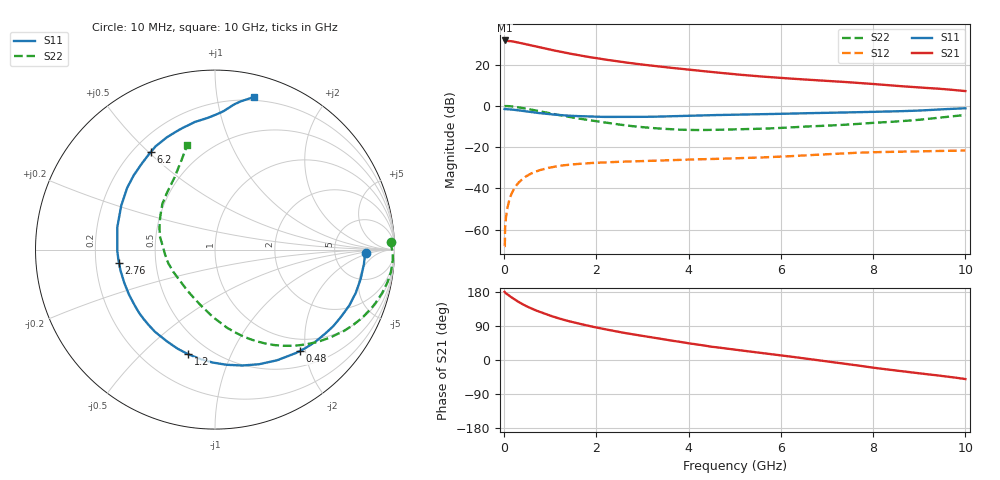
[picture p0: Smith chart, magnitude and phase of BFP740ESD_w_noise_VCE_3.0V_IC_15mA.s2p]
! Infineon Technologies  Discrete & RF Semiconductors
! BFP740ESD
! VCE =  3.0 V,  IC =  15 mA
! Common Emitter S-Parameters:  Jan 2016
# GHz  S  MA  R  50
!  f  S11  S21  S12  S22
! GHz  MAG  ANG  MAG  ANG  MAG  ANG  MAG  ANG
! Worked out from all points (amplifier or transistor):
!   233 points, 10 MHz to 10 GHz, reference 50 ohm
!   highest |S21| = 31.7 dB at 10 MHz (marker M1)
!   |S21| within 3 dB of that: start of sweep to 702.8 MHz
!   unconditionally stable (mu >= 1): 4.807 GHz to 7.919 GHz; 8.072 GHz to 8.797 GHz
!   at 200 MHz: K = 0.11, MSG = 36.0 dB, |S12| = -40.8 dB
!   at 1.74 GHz: K = 0.50, MSG = 26.0 dB, |S12| = -27.9 dB
!   at 10 GHz: K = 0.73, MSG = 14.4 dB, |S12| = -21.6 dB
!   lowest NFmin = 0.69 dB at 450 MHz
!   S11 on the Smith chart (normalised r, x): 10 MHz: 11, -2; 480 MHz: 0.77, -1.89; 1.2 GHz: 0.38, -0.70; 2.76 GHz: 0.30, -0.06; 6.2 GHz: 0.27, +0.51; 10 GHz: 0.17, +1.27
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0.01  0.8419 -1.3  38.52 179.8  0.0004 -91.8  0.9794 2.5
0.02  0.836 -2.5  37.91 177.8  0.0011 85.1  0.9907 -1.2
0.06  0.8316 -6.8  37.71 174.0  0.0029 85.8  0.9914 -4.2
0.145  0.8209 -16.5  37.04 166.6  0.0068 80.3  0.9781 -10.5
0.22  0.8043 -24.6  35.82 160.2  0.0099 76.3  0.9561 -15.7
0.34  0.7732 -36.9  33.66 151.3  0.0148 70.2  0.9129 -23.4
0.48  0.7367 -50.0  31.02 142.3  0.0198 63.8  0.8571 -31.2
0.6  0.7073 -60.6  28.93 135.3  0.0234 58.9  0.808 -37.3
0.76  0.6703 -73.6  26.36 127.5  0.0275 53.1  0.7458 -44.5
1  0.6291 -91.3  23.07 116.9  0.0323 45.9  0.6601 -54.3
1.2  0.6015 -104.4  20.74 109.3  0.0352 41.2  0.5978 -61.4
1.4  0.5799 -116.1  18.71 102.5  0.0374 37.3  0.5437 -67.7
1.68  0.5608 -130.2  16.43 94.3  0.0398 33.0  0.482 -75.4
2.2  0.5408 -152.4  13.24 80.8  0.043 27.3  0.3943 -88.3
2.76  0.5404 -172.2  10.83 68.4  0.0452 23.3  0.3253 -102.9
3.4  0.5533 169.8  8.912 55.7  0.0475 20.5  0.2815 -119.9
4.5  0.5982 144.9  6.634 35.0  0.0518 16.7  0.2634 -152.4
5.1  0.6155 136.3  5.716 25.7  0.0541 15.7  0.2719 -165.8
6.2  0.6513 123.2  4.6 9.2  0.0605 13.7  0.3011 171.7
6.8  0.6728 115.9  4.166 -0.3  0.0657 11.3  0.3248 161.7
8.4  0.7342 93.4  3.126 -26.3  0.077 -0.3  0.4119 130.9
10  0.8771 75.7  2.289 -50.3  0.0832 -11.0  0.6038 104.8
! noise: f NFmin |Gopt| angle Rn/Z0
0.45  0.69  0.08  1  0.11
0.9  0.73  0.08  8  0.09
1.9  0.75  0.05  2  0.09
2.4  0.79  0.03  -61  0.11
5.5  0.95  0.27  -127  0.12
10  1.6  0.56  -87  0.52
